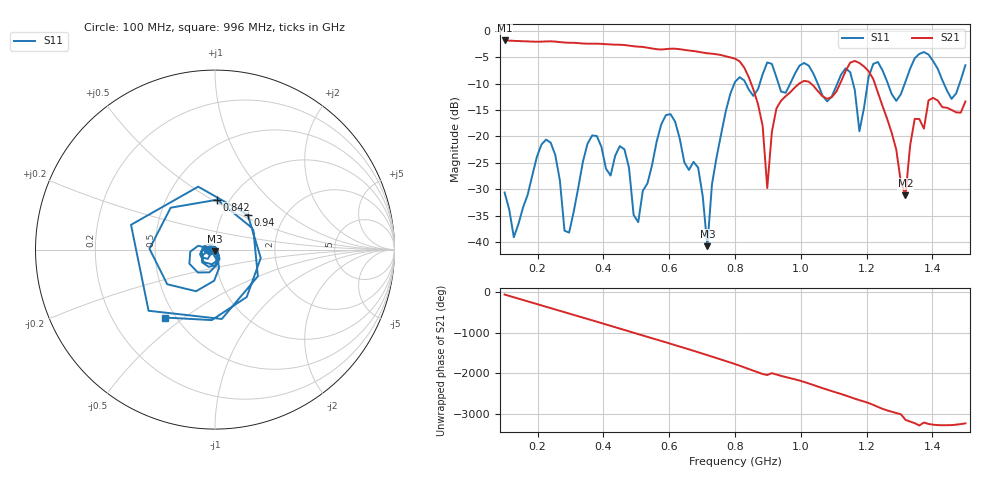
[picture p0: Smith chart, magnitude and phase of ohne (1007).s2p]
! NanoVNA-App
! Date: 2025-09-25 14:28:38
! Start: 100MHz Stop: 1,5GHz Points: 101
! S-Parameter data: F S11 S21 S12 S22
# Hz S RI R 50
!  Frequency  S11_Real  S11_Imag  S21_Real  S21_Imag  S12_Real  S12_Imag  S22_Real  S22_Imag
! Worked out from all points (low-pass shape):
!   101 points, 100 MHz to 1.5 GHz, reference 50 ohm
!   highest |S21| = -1.79 dB at 100 MHz (marker M1); lowest = -31.2 dB at 1.318 GHz (marker M2)
!   |S21| within 3 dB of the highest: start of sweep to 771.6 MHz
!   lowest |S11| = -40.8 dB at 716 MHz (marker M3), VSWR 1.02, Z = 49.7 - j0.864 ohm
!   |S11| at or under -10 dB: start of sweep to 797.9 MHz; 833 MHz to 875.1 MHz (42.04 MHz wide, 4.92 % of centre); 1.052 GHz to 1.111 GHz (59.17 MHz wide, 5.47 % of centre) (the widest 3 of 7)
!   S12 and S22 are empty: the file has one direction only
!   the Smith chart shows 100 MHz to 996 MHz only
!   S11 on the Smith chart (normalised r, x): 100 MHz: 0.94, -0.01; 842 MHz: 0.88, +0.53; 940 MHz: 1.32, +0.55; 996 MHz: 0.44, -0.43
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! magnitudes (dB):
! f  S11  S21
! 100 MHz  -30.6  -1.8
! 128 MHz  -39.1  -1.9
! 226 MHz  -20.6  -2.0
! 296 MHz  -38.2  -2.2
! 338 MHz  -24.8  -2.4
! 464 MHz  -22.4  -2.7
! 506 MHz  -36.3  -3.0
! 576 MHz  -17.7  -3.5
! 688 MHz  -25.9  -3.9
! 716 MHz  -40.8  -4.2
! 800 MHz  -9.7  -5.2
! 842 MHz  -11.1  -8.8
! 898 MHz  -6.0  -29.8
! 940 MHz  -11.5  -13.2
! 996 MHz  -6.6  -9.9
! 1.038 GHz  -8.1  -10.4
! 1.178 GHz  -19.0  -6.1
! 1.22 GHz  -6.3  -9.1
! 1.276 GHz  -12.0  -19.3
! 1.318 GHz  -9.6  -31.2
! 1.346 GHz  -5.2  -16.7
! 1.5 GHz  -6.5  -13.4
